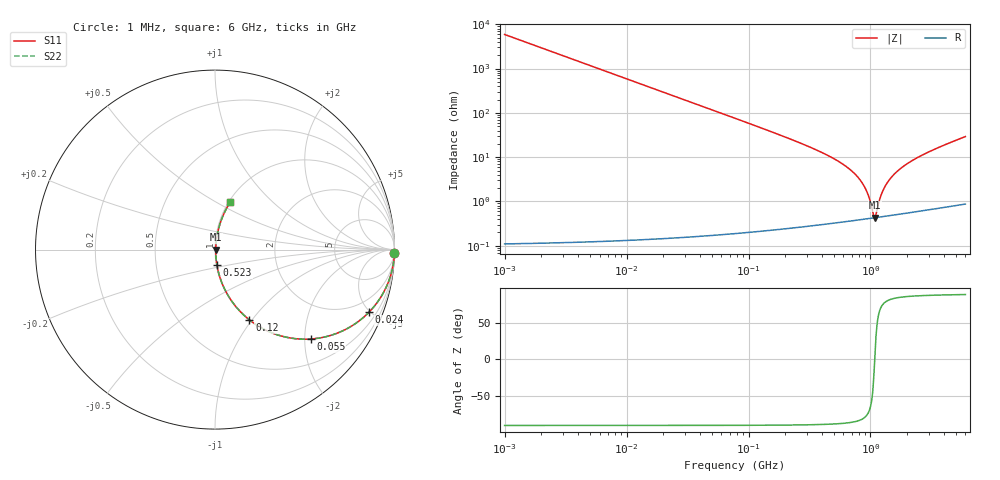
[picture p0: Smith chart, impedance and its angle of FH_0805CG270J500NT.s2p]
! FH 0805CG270J500NT 27 pF 0805 C0G (C7)
! FH publishes no RF data: typical 0805 C0G model, ESL=0.8 nH, ESR=0.10+0.10*sqrt(f/100MHz) ohm
! Generated by make_s2p.py - an estimate, not a measurement
! Series-thru 2-port: part connected between port 1 and port 2.
# Hz S RI R 50
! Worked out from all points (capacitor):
!   1500 points, 1 MHz to 6 GHz, reference 50 ohm
!   read as one part in series: C = 27 pF near 8 MHz
!   lowest |Z| = 430 mohm at 1.08 GHz (marker M1)
!   series resonance near 1.083 GHz, so ESL is about 800 pH
!   S11 on the Smith chart (normalised r, x): 1 MHz: open; 24 MHz: 1.00, -4.91; 55 MHz: 1.00, -2.14; 120 MHz: 1.00, -0.97; 523 MHz: 1.01, -0.17; 6 GHz: 1.02, +0.58
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1000000  0.9997 -0.017  0.000288 0.017  0.000288 0.017  0.9997 -0.017
3000000  0.9974 -0.0508  0.00259 0.0508  0.00259 0.0508  0.9974 -0.0508
5000000  0.9928 -0.0842  0.00715 0.0842  0.00715 0.0842  0.9928 -0.0842
1.9e7  0.9057 -0.292  0.0943 0.292  0.0943 0.292  0.9057 -0.292
2.4e7  0.8575 -0.3492  0.1425 0.3492  0.1425 0.3492  0.8575 -0.3492
5.5e7  0.5333 -0.4981  0.4667 0.4981  0.4667 0.4981  0.5333 -0.4981
7.8e7  0.3614 -0.4792  0.6386 0.4792  0.6386 0.4792  0.3614 -0.4792
1.2e8  0.1916 -0.3914  0.8084 0.3914  0.8084 0.3914  0.1916 -0.3914
3.31e8  0.028 -0.1565  0.972 0.1565  0.972 0.1565  0.028 -0.1565
5.23e8  0.0106 -0.0852  0.9894 0.0852  0.9894 0.0852  0.0106 -0.0852
6.83e8  0.00627 -0.0515  0.9937 0.0515  0.9937 0.0515  0.00627 -0.0515
8.26e8  0.00474 -0.0296  0.9953 0.0296  0.9953 0.0296  0.00474 -0.0296
9.27e8  0.00431 -0.0169  0.9957 0.0169  0.9957 0.0169  0.00431 -0.0169
9.93e8  0.00422 -0.00937  0.9958 0.00937  0.9958 0.00937  0.00422 -0.00937
1e9  0.00422 -0.00861  0.9958 0.00861  0.9958 0.00861  0.00422 -0.00861
1.08e9  0.00427 -0.000291  0.9957 0.000291  0.9957 0.000291  0.00427 -0.000291
1.13e9  0.00436 0.00459  0.9956 -0.00459  0.9956 -0.00459  0.00436 0.00459
1.25e9  0.00476 0.0155  0.9952 -0.0155  0.9952 -0.0155  0.00476 0.0155
1.41e9  0.00556 0.0288  0.9944 -0.0288  0.9944 -0.0288  0.00556 0.0288
1.72e9  0.0078 0.0515  0.9922 -0.0515  0.9922 -0.0515  0.0078 0.0515
2.29e9  0.0135 0.0877  0.9865 -0.0877  0.9865 -0.0877  0.0135 0.0877
6e9  0.0852 0.2646  0.9148 -0.2646  0.9148 -0.2646  0.0852 0.2646
